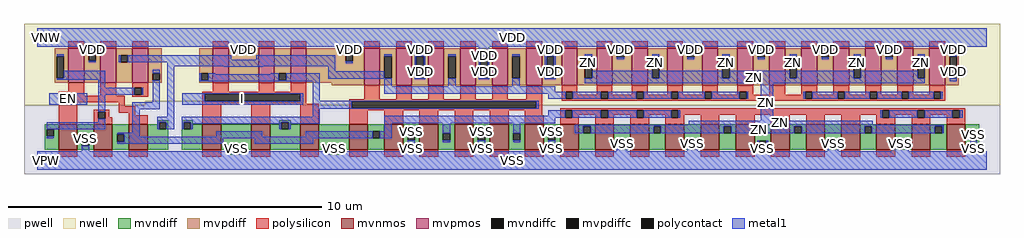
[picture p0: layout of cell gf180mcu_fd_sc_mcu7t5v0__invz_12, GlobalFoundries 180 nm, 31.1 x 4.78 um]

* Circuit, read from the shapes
.subckt gf180mcu_fd_sc_mcu7t5v0__invz_12 EN I ZN VDD VNW VPW VSS
XM1 VSS EN n1 VPW nfet_06v0 w=0.82u l=0.6u
XM2 n2 n1 VSS VPW nfet_06v0 w=0.82u l=0.6u
XM3 n3 EN n2 VPW nfet_06v0 w=0.82u l=0.6u
XM4 VSS I n4 VPW nfet_06v0 w=0.82u l=0.6u m=3
XM5 n2 n4 VSS VPW nfet_06v0 w=0.82u l=0.6u m=6
XM6 ZN n2 VSS VPW nfet_06v0 w=0.82u l=0.6u m=12
XM7 VDD EN n1 VNW pfet_06v0 w=1.095u l=0.5u
XM8 n3 EN VDD VNW pfet_06v0 w=1.095u l=0.5u
XM9 n2 n1 n3 VNW pfet_06v0 w=1.095u l=0.5u
XM10 VDD I n4 VNW pfet_06v0 w=1.095u l=0.5u m=3
XM11 n3 n4 VDD VNW pfet_06v0 w=1.18u l=0.5u m=6
XM12 ZN n3 VDD VNW pfet_06v0 w=1.18u l=0.5u m=12
.ends

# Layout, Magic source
magic
tech gf180mcuD
magscale 1 10
<< nwell >>
rect -86 377 6134 870
rect -86 352 688 377
rect 1688 352 6134 377
<< pwell >>
rect 688 352 1688 377
rect -86 -86 6134 352
<< mvnmos >>
rect 134 68 254 232
rect 358 68 478 232
rect 582 68 702 232
rect 1050 68 1170 232
rect 1362 68 1482 232
rect 1674 68 1794 232
rect 1986 68 2106 232
rect 2210 68 2330 232
rect 2434 68 2554 232
rect 2658 68 2778 232
rect 2882 68 3002 232
rect 3106 68 3226 232
rect 3330 68 3450 232
rect 3554 68 3674 232
rect 3778 68 3898 232
rect 4002 68 4122 232
rect 4226 68 4346 232
rect 4450 68 4570 232
rect 4674 68 4794 232
rect 4898 68 5018 232
rect 5122 68 5242 232
rect 5346 68 5466 232
rect 5570 68 5690 232
rect 5794 68 5914 232
<< mvpmos >>
rect 197 497 297 716
rect 401 497 501 716
rect 605 497 705 716
rect 1118 497 1218 716
rect 1410 497 1510 716
rect 1614 497 1714 716
rect 2082 480 2182 716
rect 2286 480 2386 716
rect 2490 480 2590 716
rect 2694 480 2794 716
rect 2898 480 2998 716
rect 3116 480 3216 716
rect 3340 480 3440 716
rect 3564 480 3664 716
rect 3788 480 3888 716
rect 4012 480 4112 716
rect 4236 480 4336 716
rect 4460 480 4560 716
rect 4664 480 4764 716
rect 4868 480 4968 716
rect 5072 480 5172 716
rect 5276 480 5376 716
rect 5480 480 5580 716
rect 5684 480 5784 716
<< mvndiff >>
rect 762 244 834 257
rect 762 232 775 244
rect 46 200 134 232
rect 46 154 59 200
rect 105 154 134 200
rect 46 68 134 154
rect 254 139 358 232
rect 254 93 283 139
rect 329 93 358 139
rect 254 68 358 93
rect 478 166 582 232
rect 478 120 507 166
rect 553 120 582 166
rect 478 68 582 120
rect 702 198 775 232
rect 821 198 834 244
rect 702 68 834 198
rect 918 244 990 257
rect 918 198 931 244
rect 977 232 990 244
rect 1542 244 1614 257
rect 1542 232 1555 244
rect 977 198 1050 232
rect 918 68 1050 198
rect 1170 95 1362 232
rect 1170 68 1243 95
rect 1230 49 1243 68
rect 1289 68 1362 95
rect 1482 198 1555 232
rect 1601 232 1614 244
rect 1601 198 1674 232
rect 1482 68 1674 198
rect 1794 95 1986 232
rect 1794 68 1867 95
rect 1289 49 1302 68
rect 1230 36 1302 49
rect 1854 49 1867 68
rect 1913 68 1986 95
rect 2106 187 2210 232
rect 2106 141 2135 187
rect 2181 141 2210 187
rect 2106 68 2210 141
rect 2330 175 2434 232
rect 2330 129 2359 175
rect 2405 129 2434 175
rect 2330 68 2434 129
rect 2554 175 2658 232
rect 2554 129 2583 175
rect 2629 129 2658 175
rect 2554 68 2658 129
rect 2778 175 2882 232
rect 2778 129 2807 175
rect 2853 129 2882 175
rect 2778 68 2882 129
rect 3002 175 3106 232
rect 3002 129 3031 175
rect 3077 129 3106 175
rect 3002 68 3106 129
rect 3226 175 3330 232
rect 3226 129 3255 175
rect 3301 129 3330 175
rect 3226 68 3330 129
rect 3450 219 3554 232
rect 3450 173 3479 219
rect 3525 173 3554 219
rect 3450 68 3554 173
rect 3674 127 3778 232
rect 3674 81 3703 127
rect 3749 81 3778 127
rect 3674 68 3778 81
rect 3898 219 4002 232
rect 3898 173 3927 219
rect 3973 173 4002 219
rect 3898 68 4002 173
rect 4122 127 4226 232
rect 4122 81 4151 127
rect 4197 81 4226 127
rect 4122 68 4226 81
rect 4346 219 4450 232
rect 4346 173 4375 219
rect 4421 173 4450 219
rect 4346 68 4450 173
rect 4570 127 4674 232
rect 4570 81 4599 127
rect 4645 81 4674 127
rect 4570 68 4674 81
rect 4794 219 4898 232
rect 4794 173 4823 219
rect 4869 173 4898 219
rect 4794 68 4898 173
rect 5018 127 5122 232
rect 5018 81 5047 127
rect 5093 81 5122 127
rect 5018 68 5122 81
rect 5242 219 5346 232
rect 5242 173 5271 219
rect 5317 173 5346 219
rect 5242 68 5346 173
rect 5466 127 5570 232
rect 5466 81 5495 127
rect 5541 81 5570 127
rect 5466 68 5570 81
rect 5690 219 5794 232
rect 5690 173 5719 219
rect 5765 173 5794 219
rect 5690 68 5794 173
rect 5914 172 6002 232
rect 5914 126 5943 172
rect 5989 126 6002 172
rect 5914 68 6002 126
rect 1913 49 1926 68
rect 1854 36 1926 49
<< mvpdiff >>
rect 1278 735 1350 748
rect 1278 716 1291 735
rect 109 665 197 716
rect 109 525 122 665
rect 168 525 197 665
rect 109 497 197 525
rect 297 683 401 716
rect 297 637 326 683
rect 372 637 401 683
rect 297 497 401 637
rect 501 671 605 716
rect 501 625 530 671
rect 576 625 605 671
rect 501 497 605 625
rect 705 556 793 716
rect 705 510 734 556
rect 780 510 793 556
rect 705 497 793 510
rect 1030 556 1118 716
rect 1030 510 1043 556
rect 1089 510 1118 556
rect 1030 497 1118 510
rect 1218 689 1291 716
rect 1337 716 1350 735
rect 1337 689 1410 716
rect 1218 497 1410 689
rect 1510 556 1614 716
rect 1510 510 1539 556
rect 1585 510 1614 556
rect 1510 497 1614 510
rect 1714 677 2082 716
rect 1714 631 1963 677
rect 2009 631 2082 677
rect 1714 497 2082 631
rect 1874 480 2082 497
rect 2182 665 2286 716
rect 2182 525 2211 665
rect 2257 525 2286 665
rect 2182 480 2286 525
rect 2386 665 2490 716
rect 2386 525 2415 665
rect 2461 525 2490 665
rect 2386 480 2490 525
rect 2590 665 2694 716
rect 2590 525 2619 665
rect 2665 525 2694 665
rect 2590 480 2694 525
rect 2794 665 2898 716
rect 2794 525 2823 665
rect 2869 525 2898 665
rect 2794 480 2898 525
rect 2998 665 3116 716
rect 2998 525 3027 665
rect 3073 525 3116 665
rect 2998 480 3116 525
rect 3216 665 3340 716
rect 3216 525 3245 665
rect 3291 525 3340 665
rect 3216 480 3340 525
rect 3440 665 3564 716
rect 3440 525 3489 665
rect 3535 525 3564 665
rect 3440 480 3564 525
rect 3664 703 3788 716
rect 3664 657 3693 703
rect 3739 657 3788 703
rect 3664 480 3788 657
rect 3888 665 4012 716
rect 3888 525 3917 665
rect 3963 525 4012 665
rect 3888 480 4012 525
rect 4112 703 4236 716
rect 4112 657 4141 703
rect 4187 657 4236 703
rect 4112 480 4236 657
rect 4336 665 4460 716
rect 4336 525 4365 665
rect 4411 525 4460 665
rect 4336 480 4460 525
rect 4560 703 4664 716
rect 4560 657 4589 703
rect 4635 657 4664 703
rect 4560 480 4664 657
rect 4764 665 4868 716
rect 4764 525 4793 665
rect 4839 525 4868 665
rect 4764 480 4868 525
rect 4968 703 5072 716
rect 4968 657 4997 703
rect 5043 657 5072 703
rect 4968 480 5072 657
rect 5172 665 5276 716
rect 5172 525 5201 665
rect 5247 525 5276 665
rect 5172 480 5276 525
rect 5376 703 5480 716
rect 5376 657 5405 703
rect 5451 657 5480 703
rect 5376 480 5480 657
rect 5580 665 5684 716
rect 5580 525 5609 665
rect 5655 525 5684 665
rect 5580 480 5684 525
rect 5784 665 5872 716
rect 5784 525 5813 665
rect 5859 525 5872 665
rect 5784 480 5872 525
<< mvndiffc >>
rect 59 154 105 200
rect 283 93 329 139
rect 507 120 553 166
rect 775 198 821 244
rect 931 198 977 244
rect 1243 49 1289 95
rect 1555 198 1601 244
rect 1867 49 1913 95
rect 2135 141 2181 187
rect 2359 129 2405 175
rect 2583 129 2629 175
rect 2807 129 2853 175
rect 3031 129 3077 175
rect 3255 129 3301 175
rect 3479 173 3525 219
rect 3703 81 3749 127
rect 3927 173 3973 219
rect 4151 81 4197 127
rect 4375 173 4421 219
rect 4599 81 4645 127
rect 4823 173 4869 219
rect 5047 81 5093 127
rect 5271 173 5317 219
rect 5495 81 5541 127
rect 5719 173 5765 219
rect 5943 126 5989 172
<< mvpdiffc >>
rect 122 525 168 665
rect 326 637 372 683
rect 530 625 576 671
rect 734 510 780 556
rect 1043 510 1089 556
rect 1291 689 1337 735
rect 1539 510 1585 556
rect 1963 631 2009 677
rect 2211 525 2257 665
rect 2415 525 2461 665
rect 2619 525 2665 665
rect 2823 525 2869 665
rect 3027 525 3073 665
rect 3245 525 3291 665
rect 3489 525 3535 665
rect 3693 657 3739 703
rect 3917 525 3963 665
rect 4141 657 4187 703
rect 4365 525 4411 665
rect 4589 657 4635 703
rect 4793 525 4839 665
rect 4997 657 5043 703
rect 5201 525 5247 665
rect 5405 657 5451 703
rect 5609 525 5655 665
rect 5813 525 5859 665
<< polysilicon >>
rect 197 716 297 760
rect 401 716 501 760
rect 605 716 705 760
rect 1118 716 1218 760
rect 1410 716 1510 760
rect 1614 716 1714 760
rect 2082 716 2182 760
rect 2286 716 2386 760
rect 2490 716 2590 760
rect 2694 716 2794 760
rect 2898 716 2998 760
rect 3116 716 3216 760
rect 3340 716 3440 760
rect 3564 716 3664 760
rect 3788 716 3888 760
rect 4012 716 4112 760
rect 4236 716 4336 760
rect 4460 716 4560 760
rect 4664 716 4764 760
rect 4868 716 4968 760
rect 5072 716 5172 760
rect 5276 716 5376 760
rect 5480 716 5580 760
rect 5684 716 5784 760
rect 197 437 297 497
rect 134 424 297 437
rect 134 378 158 424
rect 204 412 297 424
rect 401 412 501 497
rect 605 464 705 497
rect 605 418 618 464
rect 664 418 705 464
rect 1118 437 1218 497
rect 1410 437 1510 497
rect 1614 437 1714 497
rect 204 378 557 412
rect 605 405 705 418
rect 1050 424 1714 437
rect 134 372 557 378
rect 134 232 254 372
rect 517 345 557 372
rect 1050 378 1066 424
rect 1676 378 1714 424
rect 2082 391 2182 480
rect 2286 391 2386 480
rect 2490 391 2590 480
rect 2694 391 2794 480
rect 2898 391 2998 480
rect 3116 391 3216 480
rect 1050 365 1714 378
rect 358 311 457 324
rect 358 265 387 311
rect 433 276 457 311
rect 517 305 622 345
rect 582 288 622 305
rect 433 265 478 276
rect 358 232 478 265
rect 582 232 702 288
rect 1050 232 1170 365
rect 1362 232 1482 365
rect 1674 363 1714 365
rect 1986 378 3216 391
rect 3340 439 3440 480
rect 3340 393 3366 439
rect 3412 420 3440 439
rect 3564 439 3664 480
rect 3564 420 3591 439
rect 3412 393 3591 420
rect 3637 420 3664 439
rect 3788 439 3888 480
rect 3788 420 3817 439
rect 3637 393 3817 420
rect 3863 420 3888 439
rect 4012 439 4112 480
rect 4012 420 4039 439
rect 3863 393 4039 420
rect 4085 420 4112 439
rect 4236 439 4336 480
rect 4236 420 4251 439
rect 4085 393 4251 420
rect 4297 420 4336 439
rect 4460 439 4560 480
rect 4460 420 4473 439
rect 4297 393 4473 420
rect 4519 420 4560 439
rect 4664 420 4764 480
rect 4868 439 4968 480
rect 4868 420 4892 439
rect 4519 393 4892 420
rect 4938 420 4968 439
rect 5072 439 5172 480
rect 5072 420 5099 439
rect 4938 393 5099 420
rect 5145 420 5172 439
rect 5276 439 5376 480
rect 5276 420 5305 439
rect 5145 393 5305 420
rect 5351 420 5376 439
rect 5480 439 5580 480
rect 5480 420 5508 439
rect 5351 393 5508 420
rect 5554 420 5580 439
rect 5684 439 5784 480
rect 5684 420 5711 439
rect 5554 393 5711 420
rect 5757 393 5784 439
rect 3340 380 5784 393
rect 134 24 254 68
rect 358 24 478 68
rect 582 24 702 68
rect 1050 24 1170 68
rect 1674 232 1794 363
rect 1986 332 2004 378
rect 3178 332 3216 378
rect 1986 319 3216 332
rect 1986 232 2106 319
rect 2210 232 2330 319
rect 2434 232 2554 319
rect 2658 232 2778 319
rect 2882 232 3002 319
rect 3106 287 3216 319
rect 3330 319 5914 332
rect 3106 232 3226 287
rect 3330 273 3362 319
rect 3408 292 3591 319
rect 3408 273 3450 292
rect 3330 232 3450 273
rect 3554 273 3591 292
rect 3637 292 3819 319
rect 3637 273 3674 292
rect 3554 232 3674 273
rect 3778 273 3819 292
rect 3865 292 4038 319
rect 3865 273 3898 292
rect 3778 232 3898 273
rect 4002 273 4038 292
rect 4084 292 5383 319
rect 4084 273 4122 292
rect 4002 232 4122 273
rect 4226 232 4346 292
rect 4450 232 4570 292
rect 4674 232 4794 292
rect 4898 232 5018 292
rect 5122 232 5242 292
rect 5346 273 5383 292
rect 5429 292 5608 319
rect 5429 273 5466 292
rect 5346 232 5466 273
rect 5570 273 5608 292
rect 5654 292 5831 319
rect 5654 273 5690 292
rect 5570 232 5690 273
rect 5794 273 5831 292
rect 5877 273 5914 319
rect 5794 232 5914 273
rect 1362 24 1482 68
rect 1674 24 1794 68
rect 1986 24 2106 68
rect 2210 24 2330 68
rect 2434 24 2554 68
rect 2658 24 2778 68
rect 2882 24 3002 68
rect 3106 24 3226 68
rect 3330 24 3450 68
rect 3554 24 3674 68
rect 3778 24 3898 68
rect 4002 24 4122 68
rect 4226 24 4346 68
rect 4450 24 4570 68
rect 4674 24 4794 68
rect 4898 24 5018 68
rect 5122 24 5242 68
rect 5346 24 5466 68
rect 5570 24 5690 68
rect 5794 24 5914 68
<< polycontact >>
rect 158 378 204 424
rect 618 418 664 464
rect 1066 378 1676 424
rect 387 265 433 311
rect 3366 393 3412 439
rect 3591 393 3637 439
rect 3817 393 3863 439
rect 4039 393 4085 439
rect 4251 393 4297 439
rect 4473 393 4519 439
rect 4892 393 4938 439
rect 5099 393 5145 439
rect 5305 393 5351 439
rect 5508 393 5554 439
rect 5711 393 5757 439
rect 2004 332 3178 378
rect 3362 273 3408 319
rect 3591 273 3637 319
rect 3819 273 3865 319
rect 4038 273 4084 319
rect 5383 273 5429 319
rect 5608 273 5654 319
rect 5831 273 5877 319
<< metal1 >>
rect 0 735 6048 844
rect 0 724 1291 735
rect 326 683 372 724
rect 1280 689 1291 724
rect 1337 724 6048 735
rect 1337 689 1348 724
rect 122 665 168 676
rect 1963 677 2009 724
rect 326 626 372 637
rect 519 625 530 671
rect 576 643 1234 671
rect 1394 643 1898 671
rect 576 625 1898 643
rect 826 602 1898 625
rect 1963 620 2009 631
rect 2211 665 2257 676
rect 168 525 433 573
rect 122 514 433 525
rect 387 464 433 514
rect 734 556 780 578
rect 74 424 318 430
rect 74 378 158 424
rect 204 378 318 424
rect 74 354 318 378
rect 387 418 618 464
rect 664 418 675 464
rect 387 311 433 418
rect 734 372 780 510
rect 387 245 433 265
rect 59 200 433 245
rect 105 198 433 200
rect 605 326 780 372
rect 605 177 651 326
rect 826 280 872 602
rect 1188 597 1440 602
rect 1852 568 1898 602
rect 1030 510 1043 556
rect 1089 551 1133 556
rect 1486 551 1539 556
rect 1089 510 1539 551
rect 1585 510 1800 556
rect 1852 525 2211 568
rect 1852 522 2257 525
rect 1030 505 1800 510
rect 923 424 1695 430
rect 923 378 1066 424
rect 1676 378 1695 424
rect 923 354 1695 378
rect 1754 380 1800 505
rect 2211 472 2257 522
rect 2404 665 2472 724
rect 2404 525 2415 665
rect 2461 525 2472 665
rect 2404 518 2472 525
rect 2619 665 2665 676
rect 2619 472 2665 525
rect 2812 665 2880 724
rect 2812 525 2823 665
rect 2869 525 2880 665
rect 2812 518 2880 525
rect 3027 665 3073 676
rect 3027 472 3073 525
rect 3234 665 3302 724
rect 3693 703 3739 724
rect 3234 525 3245 665
rect 3291 525 3302 665
rect 3234 518 3302 525
rect 3489 665 3535 676
rect 4141 703 4187 724
rect 3693 646 3739 657
rect 3917 665 3963 676
rect 3535 525 3917 572
rect 4589 703 4635 724
rect 4141 646 4187 657
rect 4365 665 4411 676
rect 3963 525 4365 572
rect 4997 703 5043 724
rect 4589 646 4635 657
rect 4793 665 4839 676
rect 4411 525 4793 572
rect 5405 703 5451 724
rect 4997 646 5043 657
rect 5201 665 5247 676
rect 4839 525 5201 572
rect 5405 646 5451 657
rect 5609 665 5656 676
rect 5247 525 5609 572
rect 5655 525 5656 665
rect 3489 492 5656 525
rect 5813 665 5859 724
rect 5813 506 5859 525
rect 2211 439 3301 472
rect 2211 426 3366 439
rect 3255 393 3366 426
rect 3412 393 3591 439
rect 3637 393 3817 439
rect 3863 393 4039 439
rect 4085 393 4251 439
rect 4297 393 4473 439
rect 4519 393 4530 439
rect 3255 392 4530 393
rect 1754 378 3193 380
rect 762 244 872 280
rect 1754 332 2004 378
rect 3178 332 3193 378
rect 1754 330 3193 332
rect 1754 279 1800 330
rect 3255 284 3362 319
rect 762 198 775 244
rect 821 198 872 244
rect 918 244 1800 279
rect 918 198 931 244
rect 977 233 1555 244
rect 977 198 990 233
rect 1542 198 1555 233
rect 1601 233 1800 244
rect 2211 273 3362 284
rect 3408 273 3591 319
rect 3637 273 3819 319
rect 3865 273 4038 319
rect 4084 273 4095 319
rect 2211 238 3301 273
rect 4608 253 4688 492
rect 4881 393 4892 439
rect 4938 393 5099 439
rect 5145 393 5305 439
rect 5351 393 5508 439
rect 5554 393 5711 439
rect 5757 393 5768 439
rect 4881 392 5768 393
rect 5372 273 5383 319
rect 5429 273 5608 319
rect 5654 273 5831 319
rect 5877 273 5897 319
rect 1601 198 1614 233
rect 2211 187 2257 238
rect 59 143 105 154
rect 507 166 651 177
rect 283 139 329 152
rect 553 152 651 166
rect 1138 152 1431 187
rect 1711 152 2135 187
rect 553 141 2135 152
rect 2181 141 2257 187
rect 2359 175 2405 186
rect 553 120 1184 141
rect 507 106 1184 120
rect 1385 106 1757 141
rect 283 60 329 93
rect 1230 60 1243 95
rect 0 49 1243 60
rect 1289 60 1302 95
rect 1854 60 1867 95
rect 1289 49 1867 60
rect 1913 60 1926 95
rect 2359 60 2405 129
rect 2583 175 2629 238
rect 2583 116 2629 129
rect 2807 175 2853 186
rect 2807 60 2853 129
rect 3031 175 3077 238
rect 4150 227 5322 253
rect 3424 219 5776 227
rect 3031 116 3077 129
rect 3255 175 3301 186
rect 3424 173 3479 219
rect 3525 173 3927 219
rect 3973 173 4375 219
rect 4421 173 4823 219
rect 4869 173 5271 219
rect 5317 173 5719 219
rect 5765 173 5776 219
rect 3255 60 3301 129
rect 5943 172 5989 183
rect 3692 81 3703 127
rect 3749 81 3760 127
rect 3692 60 3760 81
rect 4140 81 4151 127
rect 4197 81 4208 127
rect 4140 60 4208 81
rect 4588 81 4599 127
rect 4645 81 4656 127
rect 4588 60 4656 81
rect 5036 81 5047 127
rect 5093 81 5104 127
rect 5036 60 5104 81
rect 5445 81 5495 127
rect 5541 81 5552 127
rect 5445 60 5552 81
rect 5943 60 5989 126
rect 1913 49 6048 60
rect 0 -60 6048 49
<< labels >>
flabel metal1 s 0 724 6048 844 0 FreeSans 400 0 0 0 VDD
port 4 nsew power bidirectional abutment
flabel metal1 s 3255 183 3301 186 0 FreeSans 400 0 0 0 VSS
port 7 nsew ground bidirectional abutment
flabel metal1 s 5609 572 5656 676 0 FreeSans 400 0 0 0 ZN
port 3 nsew default output
flabel metal1 s 74 354 318 430 0 FreeSans 400 0 0 0 EN
port 1 nsew default input
flabel metal1 s 923 354 1695 430 0 FreeSans 400 0 0 0 I
port 2 nsew default input
flabel nwell s 10 734 110 834 0 FreeSans 400 0 0 0 VNW
port 5 nsew power bidirectional
flabel pwell s 10 -50 110 50 0 FreeSans 400 0 0 0 VPW
port 6 nsew ground bidirectional
rlabel metal1 s 5201 572 5247 676 1 ZN
port 3 nsew default output
rlabel metal1 s 4793 572 4839 676 1 ZN
port 3 nsew default output
rlabel metal1 s 4365 572 4411 676 1 ZN
port 3 nsew default output
rlabel metal1 s 3917 572 3963 676 1 ZN
port 3 nsew default output
rlabel metal1 s 3489 572 3535 676 1 ZN
port 3 nsew default output
rlabel metal1 s 3489 492 5656 572 1 ZN
port 3 nsew default output
rlabel metal1 s 4608 253 4688 492 1 ZN
port 3 nsew default output
rlabel metal1 s 4150 227 5322 253 1 ZN
port 3 nsew default output
rlabel metal1 s 3424 173 5776 227 1 ZN
port 3 nsew default output
rlabel metal1 s 5813 689 5859 724 1 VDD
port 4 nsew power bidirectional abutment
rlabel metal1 s 5405 689 5451 724 1 VDD
port 4 nsew power bidirectional abutment
rlabel metal1 s 4997 689 5043 724 1 VDD
port 4 nsew power bidirectional abutment
rlabel metal1 s 4589 689 4635 724 1 VDD
port 4 nsew power bidirectional abutment
rlabel metal1 s 4141 689 4187 724 1 VDD
port 4 nsew power bidirectional abutment
rlabel metal1 s 3693 689 3739 724 1 VDD
port 4 nsew power bidirectional abutment
rlabel metal1 s 3234 689 3302 724 1 VDD
port 4 nsew power bidirectional abutment
rlabel metal1 s 2812 689 2880 724 1 VDD
port 4 nsew power bidirectional abutment
rlabel metal1 s 2404 689 2472 724 1 VDD
port 4 nsew power bidirectional abutment
rlabel metal1 s 1963 689 2009 724 1 VDD
port 4 nsew power bidirectional abutment
rlabel metal1 s 1280 689 1348 724 1 VDD
port 4 nsew power bidirectional abutment
rlabel metal1 s 326 689 372 724 1 VDD
port 4 nsew power bidirectional abutment
rlabel metal1 s 5813 646 5859 689 1 VDD
port 4 nsew power bidirectional abutment
rlabel metal1 s 5405 646 5451 689 1 VDD
port 4 nsew power bidirectional abutment
rlabel metal1 s 4997 646 5043 689 1 VDD
port 4 nsew power bidirectional abutment
rlabel metal1 s 4589 646 4635 689 1 VDD
port 4 nsew power bidirectional abutment
rlabel metal1 s 4141 646 4187 689 1 VDD
port 4 nsew power bidirectional abutment
rlabel metal1 s 3693 646 3739 689 1 VDD
port 4 nsew power bidirectional abutment
rlabel metal1 s 3234 646 3302 689 1 VDD
port 4 nsew power bidirectional abutment
rlabel metal1 s 2812 646 2880 689 1 VDD
port 4 nsew power bidirectional abutment
rlabel metal1 s 2404 646 2472 689 1 VDD
port 4 nsew power bidirectional abutment
rlabel metal1 s 1963 646 2009 689 1 VDD
port 4 nsew power bidirectional abutment
rlabel metal1 s 326 646 372 689 1 VDD
port 4 nsew power bidirectional abutment
rlabel metal1 s 5813 626 5859 646 1 VDD
port 4 nsew power bidirectional abutment
rlabel metal1 s 3234 626 3302 646 1 VDD
port 4 nsew power bidirectional abutment
rlabel metal1 s 2812 626 2880 646 1 VDD
port 4 nsew power bidirectional abutment
rlabel metal1 s 2404 626 2472 646 1 VDD
port 4 nsew power bidirectional abutment
rlabel metal1 s 1963 626 2009 646 1 VDD
port 4 nsew power bidirectional abutment
rlabel metal1 s 326 626 372 646 1 VDD
port 4 nsew power bidirectional abutment
rlabel metal1 s 5813 620 5859 626 1 VDD
port 4 nsew power bidirectional abutment
rlabel metal1 s 3234 620 3302 626 1 VDD
port 4 nsew power bidirectional abutment
rlabel metal1 s 2812 620 2880 626 1 VDD
port 4 nsew power bidirectional abutment
rlabel metal1 s 2404 620 2472 626 1 VDD
port 4 nsew power bidirectional abutment
rlabel metal1 s 1963 620 2009 626 1 VDD
port 4 nsew power bidirectional abutment
rlabel metal1 s 5813 518 5859 620 1 VDD
port 4 nsew power bidirectional abutment
rlabel metal1 s 3234 518 3302 620 1 VDD
port 4 nsew power bidirectional abutment
rlabel metal1 s 2812 518 2880 620 1 VDD
port 4 nsew power bidirectional abutment
rlabel metal1 s 2404 518 2472 620 1 VDD
port 4 nsew power bidirectional abutment
rlabel metal1 s 5813 506 5859 518 1 VDD
port 4 nsew power bidirectional abutment
rlabel metal1 s 2807 183 2853 186 1 VSS
port 7 nsew ground bidirectional abutment
rlabel metal1 s 2359 183 2405 186 1 VSS
port 7 nsew ground bidirectional abutment
rlabel metal1 s 5943 152 5989 183 1 VSS
port 7 nsew ground bidirectional abutment
rlabel metal1 s 3255 152 3301 183 1 VSS
port 7 nsew ground bidirectional abutment
rlabel metal1 s 2807 152 2853 183 1 VSS
port 7 nsew ground bidirectional abutment
rlabel metal1 s 2359 152 2405 183 1 VSS
port 7 nsew ground bidirectional abutment
rlabel metal1 s 5943 127 5989 152 1 VSS
port 7 nsew ground bidirectional abutment
rlabel metal1 s 3255 127 3301 152 1 VSS
port 7 nsew ground bidirectional abutment
rlabel metal1 s 2807 127 2853 152 1 VSS
port 7 nsew ground bidirectional abutment
rlabel metal1 s 2359 127 2405 152 1 VSS
port 7 nsew ground bidirectional abutment
rlabel metal1 s 283 127 329 152 1 VSS
port 7 nsew ground bidirectional abutment
rlabel metal1 s 5943 95 5989 127 1 VSS
port 7 nsew ground bidirectional abutment
rlabel metal1 s 5445 95 5552 127 1 VSS
port 7 nsew ground bidirectional abutment
rlabel metal1 s 5036 95 5104 127 1 VSS
port 7 nsew ground bidirectional abutment
rlabel metal1 s 4588 95 4656 127 1 VSS
port 7 nsew ground bidirectional abutment
rlabel metal1 s 4140 95 4208 127 1 VSS
port 7 nsew ground bidirectional abutment
rlabel metal1 s 3692 95 3760 127 1 VSS
port 7 nsew ground bidirectional abutment
rlabel metal1 s 3255 95 3301 127 1 VSS
port 7 nsew ground bidirectional abutment
rlabel metal1 s 2807 95 2853 127 1 VSS
port 7 nsew ground bidirectional abutment
rlabel metal1 s 2359 95 2405 127 1 VSS
port 7 nsew ground bidirectional abutment
rlabel metal1 s 283 95 329 127 1 VSS
port 7 nsew ground bidirectional abutment
rlabel metal1 s 5943 60 5989 95 1 VSS
port 7 nsew ground bidirectional abutment
rlabel metal1 s 5445 60 5552 95 1 VSS
port 7 nsew ground bidirectional abutment
rlabel metal1 s 5036 60 5104 95 1 VSS
port 7 nsew ground bidirectional abutment
rlabel metal1 s 4588 60 4656 95 1 VSS
port 7 nsew ground bidirectional abutment
rlabel metal1 s 4140 60 4208 95 1 VSS
port 7 nsew ground bidirectional abutment
rlabel metal1 s 3692 60 3760 95 1 VSS
port 7 nsew ground bidirectional abutment
rlabel metal1 s 3255 60 3301 95 1 VSS
port 7 nsew ground bidirectional abutment
rlabel metal1 s 2807 60 2853 95 1 VSS
port 7 nsew ground bidirectional abutment
rlabel metal1 s 2359 60 2405 95 1 VSS
port 7 nsew ground bidirectional abutment
rlabel metal1 s 1854 60 1926 95 1 VSS
port 7 nsew ground bidirectional abutment
rlabel metal1 s 1230 60 1302 95 1 VSS
port 7 nsew ground bidirectional abutment
rlabel metal1 s 283 60 329 95 1 VSS
port 7 nsew ground bidirectional abutment
rlabel metal1 s 0 -60 6048 60 1 VSS
port 7 nsew ground bidirectional abutment
<< properties >>
string FIXED_BBOX 0 0 6048 784
string GDS_END 564332
string GDS_FILE $PDKPATH/libs.ref/gf180mcu_fd_sc_mcu7t5v0/gds/gf180mcu_fd_sc_mcu7t5v0.gds
string GDS_START 551338
string LEFclass core
string LEFsite GF018hv5v_mcu_sc7
string LEFsymmetry X Y
<< end >>
